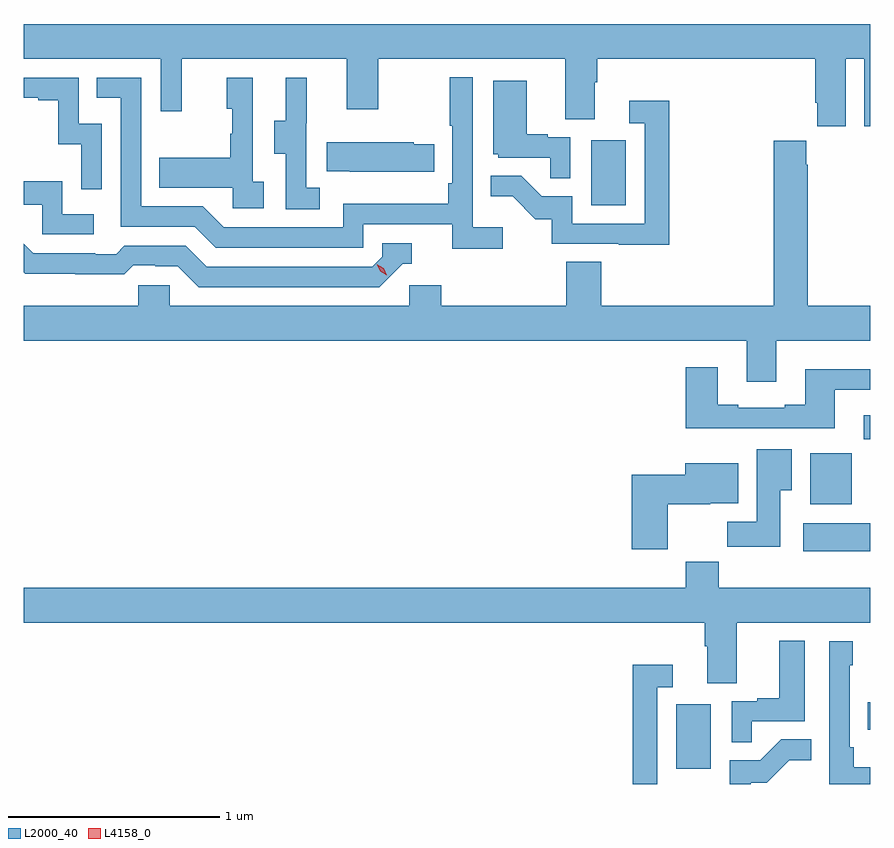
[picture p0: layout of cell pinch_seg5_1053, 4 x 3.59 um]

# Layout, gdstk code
import gdstk
lib = gdstk.Library(unit=1e-6, precision=1e-09)
def R(c, l, rs):  # rectangles x0, y0, x1, y1
    for r in rs: c.add(gdstk.rectangle(r[:2], r[2:], *l))
def P(c, l, *ps):  # polygons
    for p in ps: c.add(gdstk.Polygon(p, *l))
L2000_40 = (2000, 40)
L4158_0 = (4158, 0)

pinch_seg5_1053 = lib.new_cell('pinch_seg5_1053')
R(pinch_seg5_1053, L2000_40, [(852.41,864.06,852.574,864.367), (853.315,864.245,853.327,864.375), (853.011,865.088,853.327,865.222), (853.043,865.31,853.24,865.552), (853.295,865.619,853.327,865.732), (852.008,866.724,852.172,867.031)])
P(pinch_seg5_1053, L2000_40, [(853.21,867.416),(853.298,867.416),(853.298,867.096),(853.327,867.096),(853.327,867.58),(849.327,867.58),(849.327,867.416),(849.975,867.416),(849.975,867.168),(850.073,867.168),(850.073,867.416),(850.853,867.416),(850.853,867.177),(851.001,867.177),(851.001,867.416),(851.885,867.416),(851.885,867.13),(852.025,867.13),(852.025,867.304),(852.038,867.304),(852.038,867.416),(853.067,867.416),(853.067,867.208),(853.076,867.208),(853.076,867.096),(853.21,867.096)],
  [(851.59,866.62),(851.448,866.62),(851.448,867.328),(851.34,867.328),(851.34,867.1),(851.352,867.1),(851.352,866.827),(851.332,866.827),(851.332,866.731),(850.836,866.731),(850.836,866.619),(850.272,866.619),(850.173,866.718),(849.882,866.718),(849.882,867.327),(849.673,867.327),(849.673,867.231),(849.786,867.231),(849.786,866.622),(850.136,866.622),(850.235,866.523),(850.932,866.523),(850.932,866.634),(851.351,866.634),(851.351,866.518),(851.59,866.518)],
  [(849.696,867.108),(849.588,867.108),(849.588,867.327),(849.327,867.327),(849.327,867.231),(849.395,867.231),(849.395,867.219),(849.491,867.219),(849.491,867.011),(849.6,867.011),(849.6,866.799),(849.696,866.799)],
  [(850.726,866.807),(850.662,866.807),(850.662,867.111),(850.664,867.111),(850.664,867.325),(850.565,867.325),(850.565,867.123),(850.511,867.123),(850.511,866.968),(850.566,866.968),(850.566,866.704),(850.726,866.704)],
  [(850.462,866.834),(850.41,866.834),(850.41,867.325),(850.286,867.325),(850.286,867.18),(850.312,867.18),(850.312,867.062),(850.302,867.062),(850.302,866.947),(849.967,866.947),(849.967,866.807),(850.314,866.807),(850.314,866.709),(850.462,866.709)],
  [(851.91,867.045),(851.804,867.045),(851.804,867.058),(851.704,867.058),(851.704,867.313),(851.546,867.313),(851.546,866.964),(851.568,866.964),(851.568,866.949),(851.815,866.949),(851.815,866.851),(851.91,866.851)],
  [(852.377,867.217),(852.189,867.217),(852.189,867.111),(852.261,867.111),(852.261,866.637),(851.919,866.637),(851.919,866.766),(851.775,866.766),(851.677,866.864),(851.533,866.864),(851.533,866.765),(851.637,866.765),(851.744,866.658),(851.821,866.658),(851.821,866.541),(852.139,866.541),(852.139,866.536),(852.377,866.536)],
  [(852.883,866.084),(853.327,866.084),(853.327,866.248),(853.032,866.248),(853.032,866.915),(853.025,866.915),(853.025,867.028),(852.872,867.028),(852.872,866.248),(852.056,866.248),(852.056,866.456),(851.891,866.456),(851.891,866.248),(851.3,866.248),(851.3,866.346),(851.148,866.346),(851.148,866.248),(850.017,866.248),(850.017,866.346),(849.867,866.346),(849.867,866.248),(849.327,866.248),(849.327,866.084),(852.743,866.084),(852.743,865.89),(852.883,865.89)],
  [(851.267,867.012),(851.169,867.012),(851.169,867.022),(850.759,867.022),(850.759,866.885),(850.867,866.885),(850.867,866.882),(851.267,866.882)],
  [(849.658,866.682),(849.51,866.682),(849.51,866.836),(849.327,866.836),(849.327,866.727),(849.414,866.727),(849.414,866.586),(849.658,866.586)],
  [(851.118,866.448),(851.161,866.448),(851.161,866.544),(851.022,866.544),(851.022,866.481),(850.974,866.433),(850.191,866.433),(850.092,866.532),(849.803,866.532),(849.764,866.493),(849.665,866.493),(849.665,866.496),(849.372,866.496),(849.327,866.541),(849.327,866.406),(849.334,866.399),(849.57,866.399),(849.57,866.397),(849.803,866.397),(849.845,866.439),(849.948,866.439),(849.948,866.436),(850.055,866.436),(850.154,866.337),(851.007,866.337)],
  [(852.695,865.671),(853.159,865.671),(853.159,865.851),(853.327,865.851),(853.327,865.948),(853.019,865.948),(853.019,865.78),(852.923,865.78),(852.923,865.767),(852.703,865.767),(852.703,865.78),(852.607,865.78),(852.607,865.957),(852.455,865.957),(852.455,865.67),(852.695,865.67)],
  [(852.901,865.376),(852.955,865.376),(852.955,865.57),(852.791,865.57),(852.791,865.228),(852.652,865.228),(852.652,865.11),(852.901,865.11)],
  [(852.37,865.31),(852.57,865.31),(852.57,865.316),(852.703,865.316),(852.703,865.504),(852.452,865.504),(852.452,865.45),(852.2,865.45),(852.2,865.098),(852.37,865.098)],
  [(852.697,864.752),(853.327,864.752),(853.327,864.916),(852.611,864.916),(852.611,865.04),(852.455,865.04),(852.455,864.916),(849.327,864.916),(849.327,864.752),(852.545,864.752),(852.545,864.64),(852.557,864.64),(852.557,864.466),(852.697,864.466)],
  [(852.767,864.285),(853.018,864.285),(853.018,864.667),(852.896,864.667),(852.896,864.394),(852.793,864.394),(852.793,864.381),(852.672,864.381),(852.672,864.187),(852.767,864.187)],
  [(853.327,864.067),(853.25,864.067),(853.25,864.163),(853.23,864.163),(853.23,864.551),(853.243,864.551),(853.243,864.664),(853.134,864.664),(853.134,863.989),(853.327,863.989)],
  [(852.321,864.447),(852.394,864.447),(852.394,864.553),(852.205,864.553),(852.205,863.989),(852.321,863.989)],
  [(852.762,863.994),(852.838,863.994),(852.945,864.101),(853.049,864.101),(853.049,864.2),(852.906,864.2),(852.808,864.102),(852.663,864.102),(852.663,863.989),(852.762,863.989)])
P(pinch_seg5_1053, L4158_0, [(851.042,866.392),(851.012,866.412),(850.996,866.445),(850.996,866.445),(850.996,866.445),(851.027,866.426),(851.042,866.393),(851.042,866.392)])

lib.write_gds('pinch_seg5_1053.gds')
